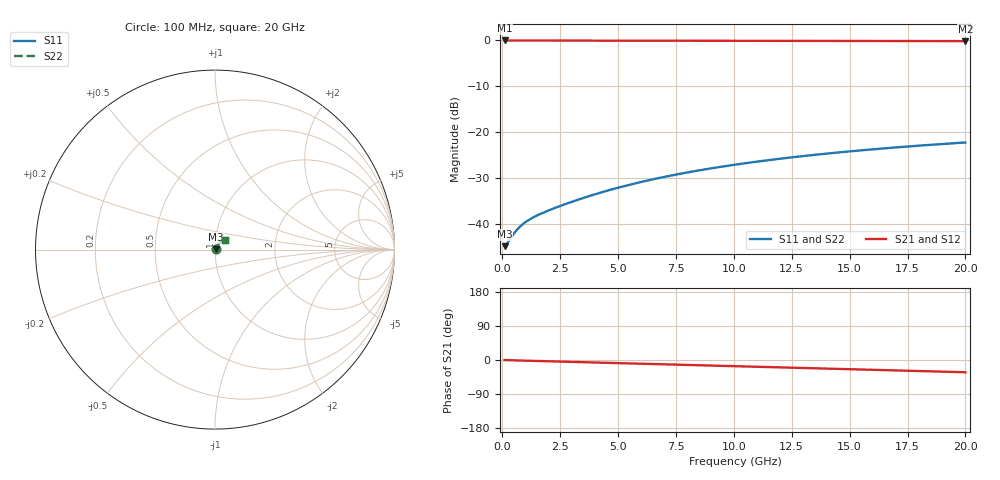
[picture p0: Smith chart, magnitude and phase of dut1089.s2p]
! Touchstone file exported from HFSS 2026.1.0
!  File:  C:/ffzhzh/LocalFiles/Ansys_Project_Files/temp_train_BSMRDL_1089_1783174587_18472.aedt
!  Generated:  10:17:31 PM Jul  4, 2026
!  Design:  BSMRDL
!  Project:  temp_train_BSMRDL_1089_1783174587_18472
! Variables:
!  h_bsmrdl = 2.15um
!  h_ox = 20um
!  h_rdl = 5um
!  h_sub = 80um
!  h_tmrdl = 5um
!  h_tsv = 80um
!  h_via = 3um
!  l_bsmrdl = 570.69um
!  l_sub = 970.69um
!  l_tmrdl = 200um
!  m_sub = 200um
!  pitch = 21.44um
!  r_tsv = 6um
!  s_tmrdl = 10um
!  w_bsmrdl = 17.42um
!  w_sub = 500um
!  w_tmrdl = 12um
!  x_tsv_center1 = 206um
!  x_tsv_center2 = 794.11um
!  x_tsv_center3 = 1006.11um
!  x_tsv_center4 = 1594.22um
!  x_tsv_center5 = 1806.22um
!  x_tsv_center6 = 2394.33um
# GHz S MA R 50.000000
! Terminal data exported
! Port[1] = BSM_RDL1_1_T1
! Port[2] = BSM_RDL1_1_T2
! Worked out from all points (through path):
!   200 points, 100 MHz to 20 GHz, reference 50 ohm
!   highest |S21| = -0.05 dB at 100 MHz (marker M1); lowest = -0.2 dB at 20 GHz (marker M2)
!   group delay of S21, straight-line fit = 4.48 ps
!   lowest |S11| = -44.8 dB at 100 MHz (marker M3), VSWR 1.01, Z = 50.6 + j0.0935 ohm
!   |S11| at or under -10 dB: start of sweep to end of sweep
!   |S22| runs from -44.8 to -22.3 dB; largest |S21 - S12| = 2e-15
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0.1  0.005729 9.3  0.9943 -0.2  0.9943 -0.2  0.005729 9.3
! Gamma 0 0 0 0
! Port Impedance 50 0 50 0
0.2  0.006101 17.3  0.9942 -0.4  0.9942 -0.4  0.006101 17.3
0.5  0.007854 30.7  0.9933 -0.9  0.9933 -0.9  0.007854 30.7
0.6  0.008453 32.8  0.9929 -1.1  0.9929 -1.1  0.008452 32.8
0.7  0.009014 34.4  0.9926 -1.3  0.9926 -1.3  0.009014 34.4
0.9  0.01002 36.5  0.9921 -1.6  0.9921 -1.6  0.01002 36.5
1.1  0.01088 38.2  0.9917 -1.9  0.9917 -1.9  0.01088 38.2
1.5  0.01235 41.1  0.9911 -2.6  0.9911 -2.6  0.01235 41.1
2  0.01402 44.5  0.9906 -3.4  0.9906 -3.4  0.01402 44.5
2.7  0.01637 48.7  0.9902 -4.5  0.9902 -4.5  0.01637 48.7
3.5  0.01919 52.3  0.9898 -5.8  0.9898 -5.8  0.01919 52.3
4.3  0.02215 54.7  0.9894 -7.1  0.9894 -7.1  0.02214 54.7
5.1  0.02519 56.3  0.9889 -8.4  0.9889 -8.4  0.02518 56.3
5.9  0.02827 57.1  0.9885 -9.7  0.9885 -9.7  0.02827 57.2
6.8  0.03176 57.6  0.988 -11.2  0.988 -11.2  0.03175 57.6
8.4  0.03793 57.3  0.9869 -13.8  0.9869 -13.8  0.03792 57.3
10.1  0.04436 56.1  0.9857 -16.5  0.9857 -16.5  0.04435 56.1
11.7  0.05023 54.5  0.9845 -19.1  0.9845 -19.1  0.05021 54.6
13.4  0.05624 52.6  0.9831 -21.8  0.9831 -21.8  0.05622 52.6
15  0.06166 50.5  0.9818 -24.4  0.9818 -24.4  0.06163 50.6
16.7  0.06716 48.2  0.9804 -27.1  0.9804 -27.1  0.06713 48.3
20  0.07707 43.6  0.9777 -32.3  0.9777 -32.3  0.07703 43.7
